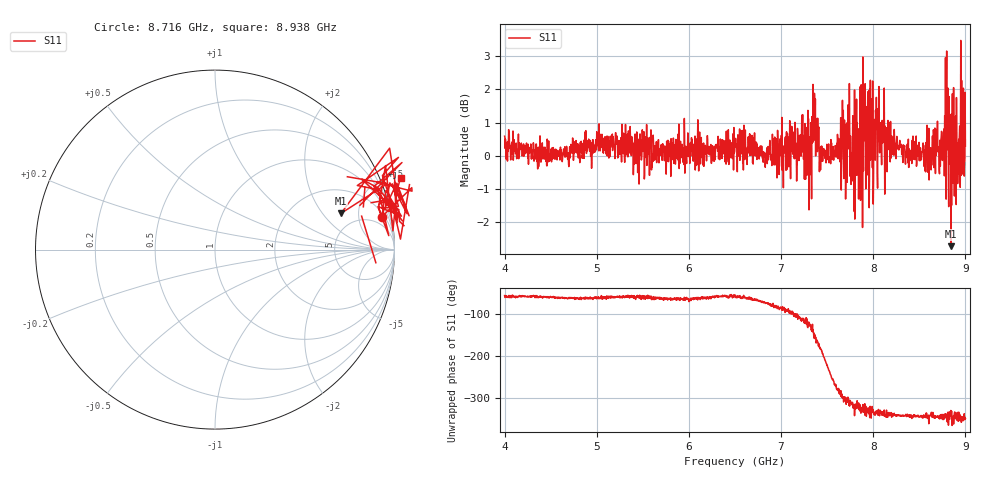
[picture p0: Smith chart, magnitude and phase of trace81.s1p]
! Created with skrf 1.8.0 (http://scikit-rf.org).
# Hz S RI R 50.0
!freq ReS11 ImS11
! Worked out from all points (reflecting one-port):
!   1601 points, 4 GHz to 9 GHz, reference 50 ohm
!   lowest |S11| = -2.7 dB at 8.844 GHz (marker M1), VSWR 6.42, Z = 180 + j156 ohm
!   phase of S11 starts at -57 deg and turns -292 deg over the sweep
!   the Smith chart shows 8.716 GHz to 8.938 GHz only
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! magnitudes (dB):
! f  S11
! 4 GHz  0.6
! 4.625 GHz  -0.2
! 5.25 GHz  0.0
! 5.875 GHz  0.0
! 6.5 GHz  0.5
! 7.125 GHz  0.7
! 7.225 GHz  1.2
! 7.306 GHz  0.6
! 7.372 GHz  1.7
! 7.441 GHz  0.3
! 7.75 GHz  -0.6
! 7.775 GHz  0.5
! 7.859 GHz  2.1
! 7.891 GHz  0.2
! 7.928 GHz  1.5
! 7.941 GHz  1.1
! 8.009 GHz  1.1
! 8.022 GHz  -0.1
! 8.097 GHz  1.1
! 8.375 GHz  0.0
! 8.612 GHz  0.0
! 8.666 GHz  0.5
! 8.734 GHz  0.5
! 8.788 GHz  -0.9
! 8.844 GHz  -2.7
! 8.919 GHz  -0.3
! 8.959 GHz  2.3
! 9 GHz  0.3
